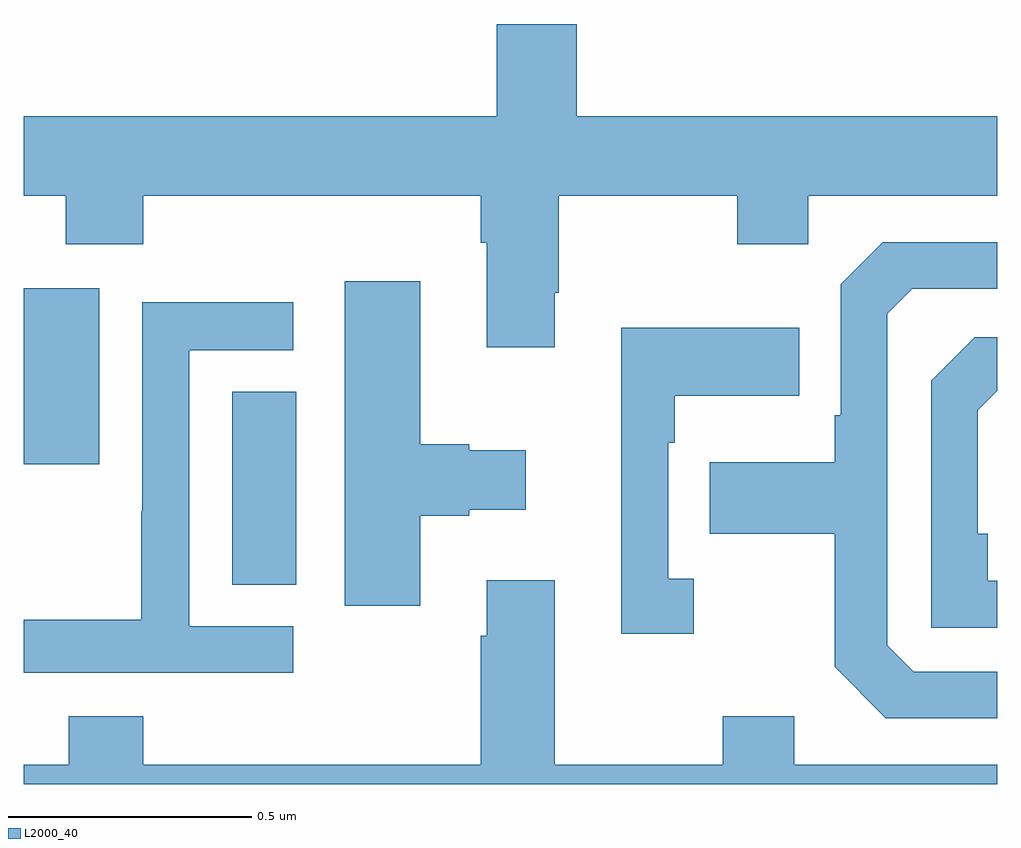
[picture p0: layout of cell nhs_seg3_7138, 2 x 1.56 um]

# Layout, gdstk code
import gdstk
lib = gdstk.Library(unit=1e-6, precision=1e-09)
def R(c, l, rs):  # rectangles x0, y0, x1, y1
    for r in rs: c.add(gdstk.rectangle(r[:2], r[2:], *l))
def P(c, l, *ps):  # polygons
    for p in ps: c.add(gdstk.Polygon(p, *l))
L2000_40 = (2000, 40)

nhs_seg3_7138 = lib.new_cell('nhs_seg3_7138')
R(nhs_seg3_7138, L2000_40, [(200.429,674.809,200.56,675.206), (200,675.057,200.155,675.418)])
P(nhs_seg3_7138, L2000_40, [(201.091,675.409),(201.099,675.409),(201.099,675.608),(201.466,675.608),(201.466,675.509),(201.612,675.509),(201.612,675.608),(202,675.608),(202,675.772),(201.136,675.772),(201.136,675.961),(200.972,675.961),(200.972,675.772),(200,675.772),(200,675.608),(200.086,675.608),(200.086,675.509),(200.246,675.509),(200.246,675.608),(200.939,675.608),(200.939,675.512),(200.951,675.512),(200.951,675.297),(201.091,675.297)],
  [(202,674.631),(201.828,674.631),(201.774,674.685),(201.774,675.366),(201.825,675.417),(202,675.417),(202,675.513),(201.765,675.513),(201.678,675.426),(201.678,675.157),(201.666,675.157),(201.666,675.061),(201.409,675.061),(201.409,674.914),(201.666,674.914),(201.666,674.641),(201.771,674.535),(202,674.535)],
  [(200.815,674.951),(200.915,674.951),(200.915,674.963),(201.031,674.963),(201.031,675.085),(200.915,675.085),(200.915,675.098),(200.815,675.098),(200.815,675.433),(200.66,675.433),(200.66,674.766),(200.815,674.766)],
  [(200.554,674.724),(200.34,674.724),(200.34,675.291),(200.554,675.291),(200.554,675.39),(200.244,675.39),(200.244,674.96),(200.242,674.96),(200.242,674.737),(200,674.737),(200,674.628),(200.554,674.628)],
  [(201.376,674.822),(201.324,674.822),(201.324,675.101),(201.337,675.101),(201.337,675.197),(201.593,675.197),(201.593,675.337),(201.227,675.337),(201.227,674.709),(201.376,674.709)],
  [(202,674.817),(201.98,674.817),(201.98,674.914),(201.96,674.914),(201.96,675.168),(202,675.208),(202,675.318),(201.954,675.318),(201.864,675.228),(201.864,674.721),(202,674.721)],
  [(202,674.44),(201.583,674.44),(201.583,674.539),(201.436,674.539),(201.436,674.44),(201.091,674.44),(201.091,674.818),(200.951,674.818),(200.951,674.705),(200.939,674.705),(200.939,674.44),(200.246,674.44),(200.246,674.539),(200.093,674.539),(200.093,674.44),(200,674.44),(200,674.4),(202,674.4)])

lib.write_gds('nhs_seg3_7138.gds')
